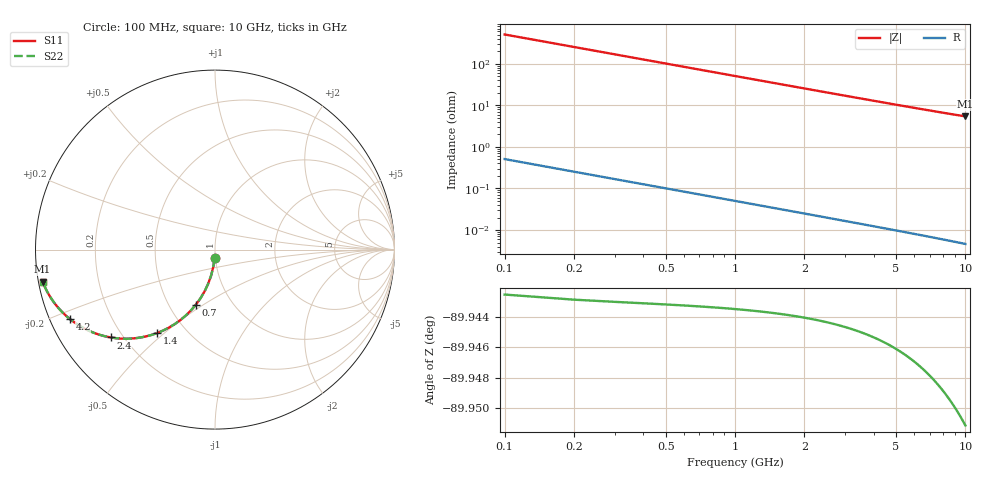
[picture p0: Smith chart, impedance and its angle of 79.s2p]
# Hz S RI R 50.00
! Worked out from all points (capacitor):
!   100 points, 100 MHz to 10 GHz, reference 50 ohm
!   read as one part in shunt: C = 3.13 pF near 100 MHz
!   lowest |Z| = 5.42 ohm at 10 GHz (marker M1)
!   S11 on the Smith chart (normalised r, x): 100 MHz: 0.99, -0.10; 700 MHz: 0.68, -0.47; 1.4 GHz: 0.35, -0.47; 2.4 GHz: 0.15, -0.36; 4.2 GHz: 0.06, -0.23; 10 GHz: 0.01, -0.09
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1e8  -0.00244 -0.049  0.9975 -0.0492  0.9975 -0.0492  -0.00244 -0.049
2e8  -0.00967 -0.0972  0.9903 -0.0978  0.9903 -0.0978  -0.00967 -0.0972
3e8  -0.0215 -0.144  0.9785 -0.1449  0.9785 -0.1449  -0.0215 -0.144
4e8  -0.0375 -0.1889  0.9625 -0.19  0.9625 -0.19  -0.0375 -0.1889
5e8  -0.0573 -0.2312  0.9427 -0.2326  0.9427 -0.2326  -0.0573 -0.2312
6e8  -0.0804 -0.2705  0.9196 -0.2723  0.9196 -0.2723  -0.0804 -0.2705
7e8  -0.1062 -0.3067  0.8937 -0.3087  0.8937 -0.3087  -0.1062 -0.3067
8e8  -0.1343 -0.3394  0.8656 -0.3417  0.8656 -0.3417  -0.1343 -0.3394
1e9  -0.195 -0.3943  0.805 -0.3971  0.805 -0.3971  -0.195 -0.3943
1.2e9  -0.2584 -0.4355  0.7415 -0.439  0.7415 -0.439  -0.2584 -0.4355
1.4e9  -0.3215 -0.4646  0.6784 -0.4686  0.6784 -0.4686  -0.3215 -0.4646
1.8e9  -0.4389 -0.4932  0.5611 -0.4983  0.5611 -0.4983  -0.4389 -0.4932
2.1e9  -0.5154 -0.4962  0.4846 -0.5023  0.4846 -0.5023  -0.5154 -0.4962
2.4e9  -0.5812 -0.4894  0.4188 -0.4963  0.4188 -0.4963  -0.5812 -0.4894
2.9e9  -0.6692 -0.4657  0.3307 -0.4742  0.3307 -0.4742  -0.6692 -0.4657
3.4e9  -0.7353 -0.4357  0.2646 -0.4456  0.2646 -0.4456  -0.7353 -0.4357
4.2e9  -0.809 -0.3864  0.1909 -0.3987  0.1909 -0.3987  -0.809 -0.3864
5.1e9  -0.8619 -0.3368  0.1379 -0.3519  0.1379 -0.3519  -0.8619 -0.3368
5.8e9  -0.8899 -0.3038  0.1099 -0.3211  0.1099 -0.3211  -0.8899 -0.3038
6.7e9  -0.9152 -0.2678  0.0845 -0.2879  0.0845 -0.2879  -0.9152 -0.2678
8.4e9  -0.9446 -0.215  0.055 -0.2406  0.055 -0.2406  -0.9446 -0.215
1e10  -0.9605 -0.1781  0.0389 -0.2089  0.0389 -0.2089  -0.9605 -0.1781
